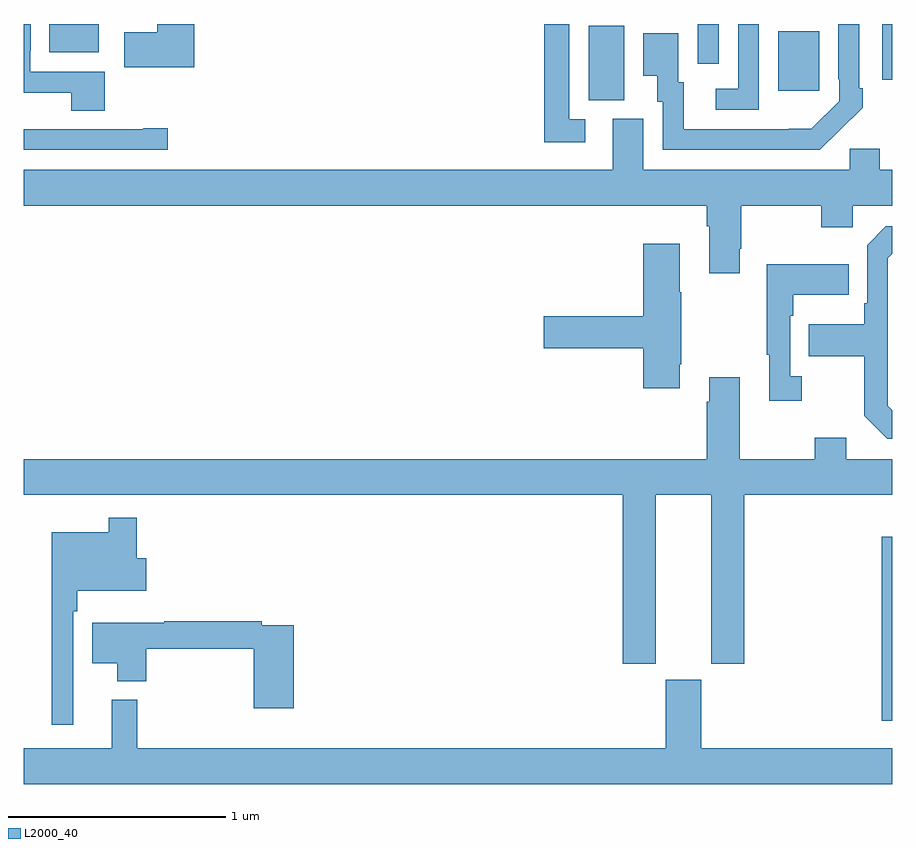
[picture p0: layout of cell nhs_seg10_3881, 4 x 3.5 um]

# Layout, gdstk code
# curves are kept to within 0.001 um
import gdstk
lib = gdstk.Library(unit=1e-6, precision=1e-09)
def R(c, l, rs):  # rectangles x0, y0, x1, y1
    for r in rs: c.add(gdstk.rectangle(r[:2], r[2:], *l))
def P(c, l, *ps):  # polygons
    for p in ps: c.add(gdstk.Polygon(p, *l))
L2000_40 = (2000, 40)

nhs_seg10_3881 = lib.new_cell('nhs_seg10_3881')
R(nhs_seg10_3881, L2000_40, [(328.951,1283.292,329,1284.139), (327.602,1286.149,327.766,1286.492), (328.475,1286.193,328.663,1286.467), (328.953,1286.244,329,1286.5), (328.104,1286.316,328.2,1286.5), (325.118,1286.369,325.345,1286.5)])
P(nhs_seg10_3881, L2000_40, [(325.786,1286.5),(325.616,1286.5),(325.616,1286.463),(325.464,1286.463),(325.464,1286.3),(325.786,1286.3)],
  [(327.586,1286.061),(327.513,1286.061),(327.513,1286.5),(327.397,1286.5),(327.397,1285.956),(327.586,1285.956)],
  [(325.373,1286.28),(325.029,1286.28),(325.029,1286.377),(325.033,1286.377),(325.033,1286.5),(325,1286.5),(325,1286.184),(325.22,1286.184),(325.22,1286.101),(325.373,1286.101)],
  [(328.386,1286.5),(328.29,1286.5),(328.29,1286.202),(328.188,1286.202),(328.188,1286.106),(328.386,1286.106)],
  [(328.757,1286.011),(328.758,1286.01),(328.863,1286.115),(328.863,1286.203),(328.848,1286.203),(328.848,1286.5),(328.752,1286.5),(328.752,1286.245),(328.755,1286.245),(328.755,1286.145),(328.627,1286.017),(328.039,1286.016),(328.039,1286.232),(328.015,1286.232),(328.015,1286.458),(327.854,1286.458),(327.854,1286.261),(327.917,1286.261),(327.917,1286.142),(327.942,1286.142),(327.942,1285.92),(328.666,1285.92)],
  [(328.297,1285.465),(328.305,1285.465),(328.305,1285.664),(328.672,1285.664),(328.672,1285.565),(328.818,1285.565),(328.818,1285.664),(329,1285.664),(329,1285.828),(328.942,1285.828),(328.942,1285.926),(328.803,1285.926),(328.803,1285.828),(327.853,1285.828),(327.853,1286.064),(327.713,1286.064),(327.713,1285.828),(325,1285.828),(325,1285.664),(328.145,1285.664),(328.145,1285.568),(328.157,1285.568),(328.157,1285.353),(328.297,1285.353)],
  [(325.663,1286.021),(325.55,1286.021),(325.55,1286.016),(325,1286.016),(325,1285.92),(325.663,1285.92)],
  [(329,1284.721),(328.98,1284.741),(328.98,1285.422),(329,1285.442),(329,1285.569),(328.971,1285.569),(328.884,1285.482),(328.884,1285.213),(328.872,1285.213),(328.872,1285.117),(328.615,1285.117),(328.615,1284.97),(328.872,1284.97),(328.872,1284.697),(328.977,1284.591),(329,1284.591)],
  [(328.021,1284.934),(328.029,1284.934),(328.029,1285.265),(328.021,1285.265),(328.021,1285.489),(327.854,1285.489),(327.854,1285.154),(327.396,1285.154),(327.396,1285.007),(327.854,1285.007),(327.854,1284.822),(328.021,1284.822)],
  [(328.582,1284.878),(328.53,1284.878),(328.53,1285.157),(328.543,1285.157),(328.543,1285.253),(328.799,1285.253),(328.799,1285.393),(328.422,1285.393),(328.422,1284.977),(328.433,1284.977),(328.433,1284.765),(328.582,1284.765)],
  [(327.91,1284.332),(328.166,1284.332),(328.166,1283.553),(328.319,1283.553),(328.319,1284.332),(329,1284.332),(329,1284.496),(328.789,1284.496),(328.789,1284.595),(328.642,1284.595),(328.642,1284.496),(328.297,1284.496),(328.297,1284.874),(328.157,1284.874),(328.157,1284.761),(328.145,1284.761),(328.145,1284.496),(325,1284.496),(325,1284.332),(327.758,1284.332),(327.758,1283.553),(327.91,1283.553)],
  [(325.227,1283.795),(325.247,1283.795),(325.247,1283.891),(325.564,1283.891),(325.564,1284.039),(325.52,1284.039),(325.52,1284.226),(325.392,1284.226),(325.392,1284.16),(325.13,1284.16),(325.13,1283.274),(325.227,1283.274)],
  [(326.243,1283.73),(326.096,1283.73),(326.096,1283.75),(325.648,1283.75),(325.648,1283.743),(325.316,1283.743),(325.316,1283.555),(325.43,1283.555),(325.43,1283.474),(325.565,1283.474),(325.565,1283.622),(326.06,1283.622),(326.06,1283.349),(326.243,1283.349)],
  [(329,1283.164),(328.12,1283.164),(328.12,1283.481),(327.956,1283.481),(327.956,1283.164),(325.523,1283.164),(325.523,1283.389),(325.406,1283.389),(325.406,1283.164),(325,1283.164),(325,1283),(329,1283)])

lib.write_gds('nhs_seg10_3881.gds')
